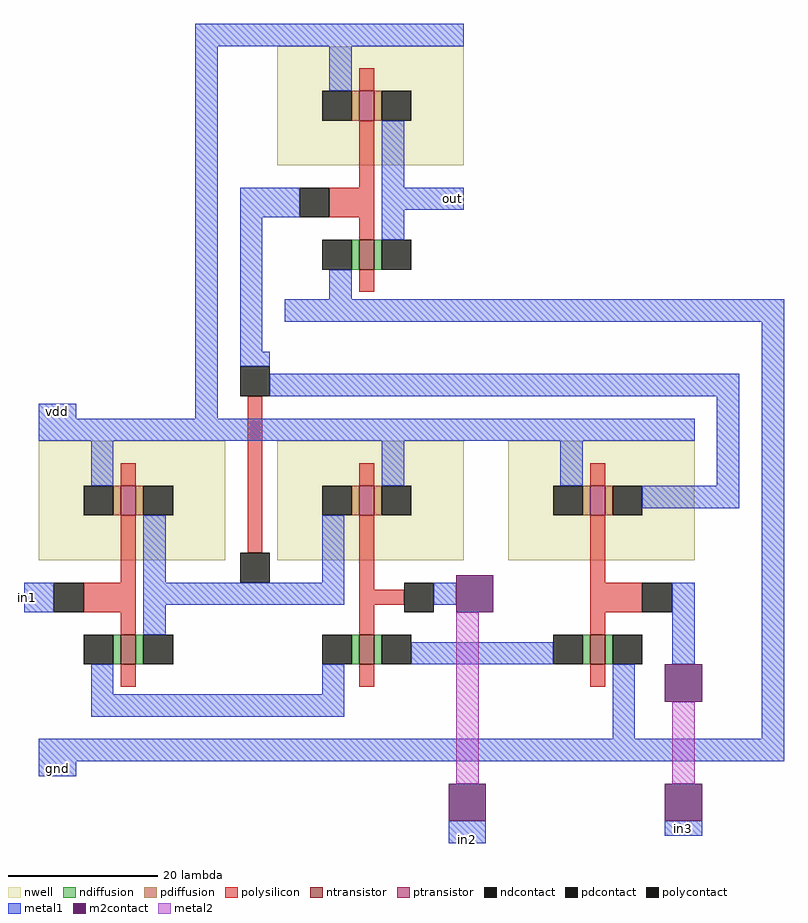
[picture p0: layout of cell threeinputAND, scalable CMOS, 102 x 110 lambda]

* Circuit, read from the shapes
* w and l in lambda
.subckt threeinputAND gnd in1 in2 in3 out vdd
M1 not_0/in in1 n1 VSUBS nfet w=4 l=2
M2 n2 in2 n1 VSUBS nfet w=4 l=2
M3 out not_0/in gnd VSUBS nfet w=4 l=2
M4 gnd in3 n2 VSUBS nfet w=4 l=2
M5 not_0/in in1 vdd n3 pfet w=4 l=2
M6 vdd in2 not_0/in n4 pfet w=4 l=2
M7 out not_0/in vdd n5 pfet w=4 l=2
M8 not_0/in in3 vdd n6 pfet w=4 l=2
.ends

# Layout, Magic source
magic
tech scmos
<< metal1 >>
rect 22 106 33 109
rect 1 56 6 58
rect 22 56 25 106
rect 28 83 34 87
rect 55 84 58 87
rect 28 65 31 83
rect 58 71 101 72
rect 57 69 101 71
rect -1 30 0 34
rect 86 23 89 34
rect 98 13 101 69
rect 83 11 101 13
rect 82 10 101 11
rect 1 8 6 10
rect 85 0 90 2
rect 56 -1 61 0
<< m2contact >>
rect 85 18 90 23
rect 85 2 90 7
<< metal2 >>
rect 86 7 89 18
use not  not_0
transform 1 0 33 0 1 90
box 0 -21 25 19
use threeinputNAND  threeinputNAND_0
transform 1 0 1 0 1 37
box -1 -37 94 28
<< labels >>
rlabel metal1 55 84 58 87 1 out
rlabel metal1 1 8 6 10 3 gnd
rlabel metal1 1 56 6 58 3 vdd
rlabel metal1 -1 30 0 34 3 in1
rlabel metal1 56 -1 61 0 1 in2
rlabel metal1 85 0 90 2 1 in3
<< end >>

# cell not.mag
magic
tech scmos
<< nwell >>
rect 0 0 25 16
<< ntransistor >>
rect 11 -14 13 -10
<< ptransistor >>
rect 11 6 13 10
<< ndiffusion >>
rect 10 -14 11 -10
rect 13 -14 14 -10
<< pdiffusion >>
rect 10 6 11 10
rect 13 6 14 10
<< ndcontact >>
rect 6 -14 10 -10
rect 14 -14 18 -10
<< pdcontact >>
rect 6 6 10 10
rect 14 6 18 10
<< polysilicon >>
rect 11 10 13 13
rect 11 -3 13 6
rect 7 -7 13 -3
rect 11 -10 13 -7
rect 11 -17 13 -14
<< polycontact >>
rect 3 -7 7 -3
<< metal1 >>
rect 0 16 25 19
rect 7 10 10 16
rect 14 -3 17 6
rect 1 -7 3 -3
rect 14 -6 22 -3
rect 14 -10 17 -6
rect 7 -18 10 -14
rect 1 -21 25 -18
<< labels >>
rlabel metal1 0 16 25 19 5 vdd
rlabel metal1 17 -6 22 -3 1 out
rlabel metal1 1 -7 3 -3 3 in
rlabel metal1 1 -21 25 -18 1 gnd
<< end >>

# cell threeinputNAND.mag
magic
tech scmos
<< nwell >>
rect 0 0 25 16
rect 32 0 57 16
rect 63 0 88 16
<< ntransistor >>
rect 11 -14 13 -10
rect 43 -14 45 -10
rect 74 -14 76 -10
<< ptransistor >>
rect 11 6 13 10
rect 43 6 45 10
rect 74 6 76 10
<< ndiffusion >>
rect 10 -14 11 -10
rect 13 -14 14 -10
rect 42 -14 43 -10
rect 45 -14 46 -10
rect 73 -14 74 -10
rect 76 -14 77 -10
<< pdiffusion >>
rect 10 6 11 10
rect 13 6 14 10
rect 42 6 43 10
rect 45 6 46 10
rect 73 6 74 10
rect 76 6 77 10
<< ndcontact >>
rect 6 -14 10 -10
rect 14 -14 18 -10
rect 38 -14 42 -10
rect 46 -14 50 -10
rect 69 -14 73 -10
rect 77 -14 81 -10
<< pdcontact >>
rect 6 6 10 10
rect 14 6 18 10
rect 38 6 42 10
rect 46 6 50 10
rect 69 6 73 10
rect 77 6 81 10
<< polysilicon >>
rect 11 10 13 13
rect 11 -3 13 6
rect 28 1 30 22
rect 43 10 45 13
rect 74 10 76 13
rect 6 -7 13 -3
rect 11 -10 13 -7
rect 43 -4 45 6
rect 74 -3 76 6
rect 43 -6 49 -4
rect 43 -10 45 -6
rect 74 -7 81 -3
rect 74 -10 76 -7
rect 11 -17 13 -14
rect 43 -17 45 -14
rect 74 -17 76 -14
<< polycontact >>
rect 27 22 31 26
rect 27 -3 31 1
rect 2 -7 6 -3
rect 49 -7 53 -3
rect 81 -7 85 -3
<< metal1 >>
rect 27 26 31 28
rect 31 22 94 25
rect 0 16 88 19
rect 7 10 10 16
rect 46 10 49 16
rect 70 10 73 16
rect 91 10 94 22
rect 81 7 94 10
rect 14 -3 17 6
rect 38 -3 41 6
rect -1 -7 2 -3
rect 14 -6 41 -3
rect 14 -10 17 -6
rect 53 -6 56 -3
rect 85 -7 87 -3
rect 50 -14 69 -11
rect 7 -18 10 -14
rect 38 -18 41 -14
rect 7 -21 41 -18
rect 77 -24 80 -14
rect 0 -27 82 -24
rect 55 -37 60 -35
<< m2contact >>
rect 56 -7 61 -2
rect 55 -35 60 -30
<< metal2 >>
rect 56 -30 59 -7
<< labels >>
rlabel metal1 0 16 57 19 5 vdd
rlabel metal1 0 -7 2 -3 3 in1
rlabel metal1 0 -27 50 -24 1 gnd
rlabel metal1 17 -6 41 -3 1 out
rlabel metal1 85 -7 87 -3 1 in3
rlabel metal1 27 27 31 28 5 out
rlabel metal1 55 -37 60 -35 1 in2
<< end >>
